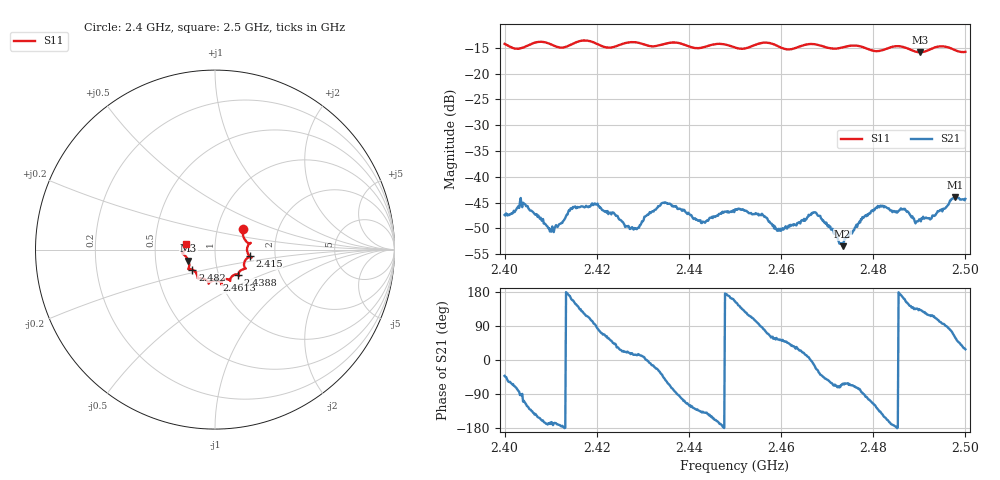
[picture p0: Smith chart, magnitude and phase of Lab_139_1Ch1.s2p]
# Hz S RI R
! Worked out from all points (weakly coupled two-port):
!   601 points, 2.4 GHz to 2.5 GHz, reference 50 ohm
!   highest |S21| = -43.91 dB at 2.4978 GHz (marker M1); lowest = -53.4 dB at 2.4733 GHz (marker M2)
!   lowest |S11| = -15.9 dB at 2.4902 GHz (marker M3), VSWR 1.38, Z = 36.8 - j4.66 ohm
!   |S11| at or under -10 dB: start of sweep to end of sweep
!   S12 and S22 are empty: the file has one direction only
!   S11 on the Smith chart (normalised r, x): 2.4 GHz: 1.33, +0.31; 2.415 GHz: 1.47, -0.11; 2.4388 GHz: 1.24, -0.36; 2.4613 GHz: 0.96, -0.34; 2.482 GHz: 0.76, -0.17; 2.5 GHz: 0.72, +0.05
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2.4e9  0.1581 0.112  0.00318 -0.00285  0 0  0 0
2.403833e9  0.1706 0.0509  4.93e-05 -0.00507  0 0  0 0
2.410333e9  0.1869 0.0277  -0.0032 -0.000817  0 0  0 0
2.415e9  0.1923 -0.0364  -0.00459 0.00216  0 0  0 0
2.416667e9  0.2031 -0.0442  -0.00326 0.00402  0 0  0 0
2.42e9  0.1894 -0.0424  0.000395 0.00543  0 0  0 0
2.428333e9  0.1708 -0.1058  0.00304 0.000735  0 0  0 0
2.433333e9  0.1323 -0.1315  0.00463 -0.00235  0 0  0 0
2.438833e9  0.1298 -0.1406  -0.00146 -0.00449  0 0  0 0
2.443167e9  0.0897 -0.1555  -0.00274 -0.00243  0 0  0 0
2.45e9  0.0689 -0.1649  -0.00439 0.00203  0 0  0 0
2.456833e9  0.0381 -0.1953  0.00121 0.00383  0 0  0 0
2.459e9  0.0333 -0.1839  0.00165 0.00267  0 0  0 0
2.461333e9  0.00772 -0.1711  0.00222 0.00224  0 0  0 0
2.466667e9  -0.035 -0.1901  0.00445 -0.000264  0 0  0 0
2.473333e9  -0.0812 -0.1596  0.000969 -0.00189  0 0  0 0
2.477833e9  -0.0976 -0.1508  2.3e-05 -0.00399  0 0  0 0
2.482e9  -0.1258 -0.1116  -0.00421 -0.00311  0 0  0 0
2.483333e9  -0.1394 -0.1088  -0.00469 -0.00158  0 0  0 0
2.490167e9  -0.1481 -0.0617  -0.00258 0.00288  0 0  0 0
2.497833e9  -0.1678 -0.00276  0.00335 0.00542  0 0  0 0
2.5e9  -0.1589 0.0324  0.00538 0.00289  0 0  0 0
